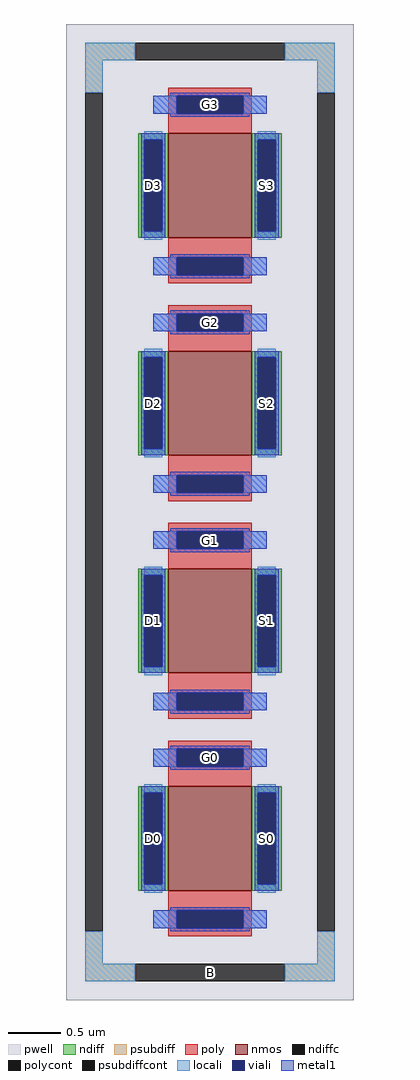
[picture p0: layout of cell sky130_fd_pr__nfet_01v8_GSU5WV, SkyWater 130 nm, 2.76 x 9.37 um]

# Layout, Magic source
magic
tech sky130A
magscale 1 2
<< pwell >>
rect -276 -937 276 937
<< nmos >>
rect -80 527 80 727
rect -80 109 80 309
rect -80 -309 80 -109
rect -80 -727 80 -527
<< ndiff >>
rect -138 715 -80 727
rect -138 539 -126 715
rect -92 539 -80 715
rect -138 527 -80 539
rect 80 715 138 727
rect 80 539 92 715
rect 126 539 138 715
rect 80 527 138 539
rect -138 297 -80 309
rect -138 121 -126 297
rect -92 121 -80 297
rect -138 109 -80 121
rect 80 297 138 309
rect 80 121 92 297
rect 126 121 138 297
rect 80 109 138 121
rect -138 -121 -80 -109
rect -138 -297 -126 -121
rect -92 -297 -80 -121
rect -138 -309 -80 -297
rect 80 -121 138 -109
rect 80 -297 92 -121
rect 126 -297 138 -121
rect 80 -309 138 -297
rect -138 -539 -80 -527
rect -138 -715 -126 -539
rect -92 -715 -80 -539
rect -138 -727 -80 -715
rect 80 -539 138 -527
rect 80 -715 92 -539
rect 126 -715 138 -539
rect 80 -727 138 -715
<< ndiffc >>
rect -126 539 -92 715
rect 92 539 126 715
rect -126 121 -92 297
rect 92 121 126 297
rect -126 -297 -92 -121
rect 92 -297 126 -121
rect -126 -715 -92 -539
rect 92 -715 126 -539
<< psubdiff >>
rect -240 867 -144 901
rect 144 867 240 901
rect -240 805 -206 867
rect 206 805 240 867
rect -240 -867 -206 -805
rect 206 -867 240 -805
rect -240 -901 -144 -867
rect 144 -901 240 -867
<< psubdiffcont >>
rect -144 867 144 901
rect -240 -805 -206 805
rect 206 -805 240 805
rect -144 -901 144 -867
<< poly >>
rect -80 799 80 815
rect -80 765 -64 799
rect 64 765 80 799
rect -80 727 80 765
rect -80 489 80 527
rect -80 455 -64 489
rect 64 455 80 489
rect -80 439 80 455
rect -80 381 80 397
rect -80 347 -64 381
rect 64 347 80 381
rect -80 309 80 347
rect -80 71 80 109
rect -80 37 -64 71
rect 64 37 80 71
rect -80 21 80 37
rect -80 -37 80 -21
rect -80 -71 -64 -37
rect 64 -71 80 -37
rect -80 -109 80 -71
rect -80 -347 80 -309
rect -80 -381 -64 -347
rect 64 -381 80 -347
rect -80 -397 80 -381
rect -80 -455 80 -439
rect -80 -489 -64 -455
rect 64 -489 80 -455
rect -80 -527 80 -489
rect -80 -765 80 -727
rect -80 -799 -64 -765
rect 64 -799 80 -765
rect -80 -815 80 -799
<< polycont >>
rect -64 765 64 799
rect -64 455 64 489
rect -64 347 64 381
rect -64 37 64 71
rect -64 -71 64 -37
rect -64 -381 64 -347
rect -64 -489 64 -455
rect -64 -799 64 -765
<< locali >>
rect -240 867 -144 901
rect 144 867 240 901
rect -240 805 -206 867
rect 206 805 240 867
rect -109 765 -64 799
rect 64 765 109 799
rect -126 715 -92 731
rect -126 523 -92 539
rect 92 715 126 731
rect 92 523 126 539
rect -109 455 -64 489
rect 64 455 109 489
rect -109 347 -64 381
rect 64 347 109 381
rect -126 297 -92 313
rect -126 105 -92 121
rect 92 297 126 313
rect 92 105 126 121
rect -109 37 -64 71
rect 64 37 109 71
rect -109 -71 -64 -37
rect 64 -71 109 -37
rect -126 -121 -92 -105
rect -126 -313 -92 -297
rect 92 -121 126 -105
rect 92 -313 126 -297
rect -109 -381 -64 -347
rect 64 -381 109 -347
rect -109 -489 -64 -455
rect 64 -489 109 -455
rect -126 -539 -92 -523
rect -126 -731 -92 -715
rect 92 -539 126 -523
rect 92 -731 126 -715
rect -109 -799 -64 -765
rect 64 -799 109 -765
rect -240 -867 -206 -805
rect 206 -867 240 -805
rect -240 -901 -144 -867
rect 144 -901 240 -867
<< viali >>
rect -64 765 64 799
rect -126 539 -92 715
rect 92 539 126 715
rect -64 455 64 489
rect -64 347 64 381
rect -126 121 -92 297
rect 92 121 126 297
rect -64 37 64 71
rect -64 -71 64 -37
rect -126 -297 -92 -121
rect 92 -297 126 -121
rect -64 -381 64 -347
rect -64 -489 64 -455
rect -126 -715 -92 -539
rect 92 -715 126 -539
rect -64 -799 64 -765
<< metal1 >>
rect -76 799 76 805
rect -109 765 -64 799
rect 64 765 109 799
rect -76 759 76 765
rect -132 715 -86 727
rect -132 539 -126 715
rect -92 539 -86 715
rect -132 527 -86 539
rect 86 715 132 727
rect 86 539 92 715
rect 126 539 132 715
rect 86 527 132 539
rect -76 489 76 495
rect -109 455 -64 489
rect 64 455 109 489
rect -76 449 76 455
rect -76 381 76 387
rect -109 347 -64 381
rect 64 347 109 381
rect -76 341 76 347
rect -132 297 -86 309
rect -132 121 -126 297
rect -92 121 -86 297
rect -132 109 -86 121
rect 86 297 132 309
rect 86 121 92 297
rect 126 121 132 297
rect 86 109 132 121
rect -76 71 76 77
rect -109 37 -64 71
rect 64 37 109 71
rect -76 31 76 37
rect -76 -37 76 -31
rect -109 -71 -64 -37
rect 64 -71 109 -37
rect -76 -77 76 -71
rect -132 -121 -86 -109
rect -132 -297 -126 -121
rect -92 -297 -86 -121
rect -132 -309 -86 -297
rect 86 -121 132 -109
rect 86 -297 92 -121
rect 126 -297 132 -121
rect 86 -309 132 -297
rect -76 -347 76 -341
rect -109 -381 -64 -347
rect 64 -381 109 -347
rect -76 -387 76 -381
rect -76 -455 76 -449
rect -109 -489 -64 -455
rect 64 -489 109 -455
rect -76 -495 76 -489
rect -132 -539 -86 -527
rect -132 -715 -126 -539
rect -92 -715 -86 -539
rect -132 -727 -86 -715
rect 86 -539 132 -527
rect 86 -715 92 -539
rect 126 -715 132 -539
rect 86 -727 132 -715
rect -76 -765 76 -759
rect -109 -799 -64 -765
rect 64 -799 109 -765
rect -76 -805 76 -799
<< labels >>
rlabel psubdiffcont 0 -884 0 -884 0 B
port 1 nsew
rlabel ndiffc -109 -627 -109 -627 0 D0
port 2 nsew
rlabel ndiffc 109 -627 109 -627 0 S0
port 3 nsew
rlabel polycont 0 -472 0 -472 0 G0
port 4 nsew
rlabel ndiffc -109 -209 -109 -209 0 D1
port 5 nsew
rlabel ndiffc 109 -209 109 -209 0 S1
port 6 nsew
rlabel polycont 0 -54 0 -54 0 G1
port 7 nsew
rlabel ndiffc -109 209 -109 209 0 D2
port 8 nsew
rlabel ndiffc 109 209 109 209 0 S2
port 9 nsew
rlabel polycont 0 364 0 364 0 G2
port 10 nsew
rlabel ndiffc -109 627 -109 627 0 D3
port 11 nsew
rlabel ndiffc 109 627 109 627 0 S3
port 12 nsew
rlabel polycont 0 782 0 782 0 G3
port 13 nsew
<< properties >>
string FIXED_BBOX -223 -884 223 884
string gencell sky130_fd_pr__nfet_01v8
string library sky130
string parameters w 1.0 l 0.8 m 4 nf 1 diffcov 100 polycov 100 guard 1 glc 1 grc 1 gtc 1 gbc 1 tbcov 100 rlcov 100 topc 1 botc 1 poverlap 0 doverlap 1 lmin 0.15 wmin 0.42 class mosfet compatible {sky130_fd_pr__nfet_01v8 sky130_fd_pr__nfet_01v8_lvt  sky130_fd_bs_flash__special_sonosfet_star  sky130_fd_pr__nfet_g5v0d10v5 sky130_fd_pr__nfet_05v0_nvt  sky130_fd_pr__nfet_03v3_nvt} full_metal 1 conn_gates 1 viasrc 100 viadrn 100 viagate 100 viagb 0 viagr 0 viagl 0 viagt 0 doports 1
<< end >>
